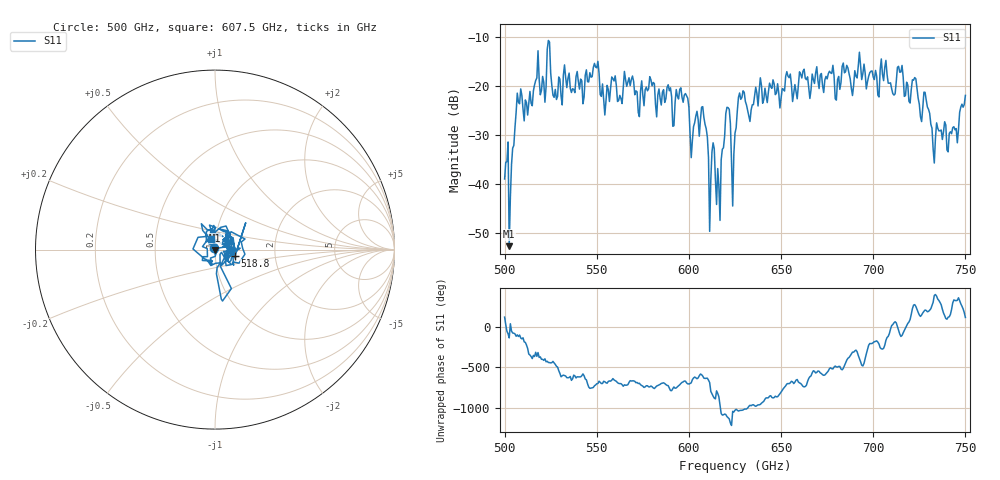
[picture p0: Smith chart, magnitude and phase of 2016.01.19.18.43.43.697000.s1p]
!Created with skrf (http://scikit-rf.org).
# GHz S RI R 50.0
!freq ReS11 ImS11
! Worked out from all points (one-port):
!   401 points, 500 GHz to 750 GHz, reference 50 ohm
!   lowest |S11| = -52.7 dB at 502.5 GHz (marker M1), VSWR 1.00, Z = 49.8 - j0.153 ohm
!   |S11| at or under -10 dB: start of sweep to end of sweep
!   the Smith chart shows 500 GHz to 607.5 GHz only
!   S11 on the Smith chart (normalised r, x): 500 GHz: 0.99, +0.02; 518.8 GHz: 1.24, -0.10; 607.5 GHz: 0.95, +0.11
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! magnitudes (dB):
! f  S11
! 500 GHz  -39.0
! 502.5 GHz  -52.7
! 507.5 GHz  -23.3
! 518.8 GHz  -18.7
! 524.4 GHz  -11.1
! 526.9 GHz  -22.4
! 531.2 GHz  -23.9
! 549.4 GHz  -16.2
! 553.1 GHz  -19.6
! 562.5 GHz  -22.0
! 593.8 GHz  -22.2
! 598.8 GHz  -22.1
! 601.9 GHz  -31.1
! 607.5 GHz  -24.3
! 610.6 GHz  -34.7
! 615.6 GHz  -36.9
! 620.6 GHz  -24.4
! 625 GHz  -29.7
! 628.1 GHz  -22.8
! 656.2 GHz  -23.2
! 687.5 GHz  -18.6
! 705.6 GHz  -19.0
! 710.6 GHz  -21.6
! 714.4 GHz  -17.2
! 718.8 GHz  -19.8
! 728.8 GHz  -22.9
! 732.5 GHz  -32.9
! 750 GHz  -22.0
